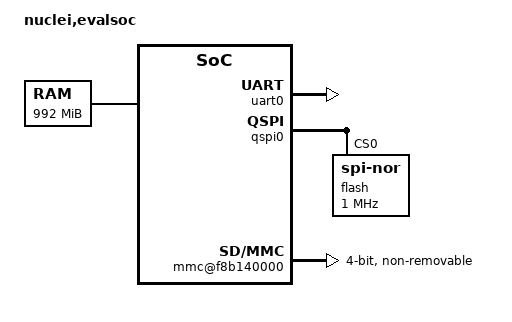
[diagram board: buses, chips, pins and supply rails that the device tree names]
/dts-v1/;

#include <dt-bindings/reset/nuclei-reset.h>

#ifndef TIMERCLK_FREQ
#define TIMERCLK_FREQ       20000000
#endif

#ifndef CPUCLK_FREQ
#define CPUCLK_FREQ         400000000
#endif
#ifndef PERIPHCLK_FREQ
#define PERIPHCLK_FREQ      200000000
#endif

/ {
  #address-cells = <2>;
  #size-cells = <2>;
  compatible = "nuclei,evalsoc";
  model = "nuclei,evalsoc";
  dma-noncoherent;
  chosen {
      bootargs = "earlycon=sbi console=ttyNUC0";
      stdout-path = "serial0";
  };

  aliases {
    serial0 = &uart0;
  };

  cpus {
    #address-cells = <1>;
    #size-cells = <0>;
    timebase-frequency = <TIMERCLK_FREQ>;
    cpu0: cpu@0 {
      device_type = "cpu";
      reg = <0>;
      status = "okay";
      compatible = "riscv";

      riscv,isa = "rv64imafdcv_zicbom_svpbmt";
      riscv,cbom-block-size =<64>;
      mmu-type = "riscv,sv39";
      clock-frequency = <CPUCLK_FREQ>;
      cpu0_intc: interrupt-controller {
        #interrupt-cells = <1>;
        interrupt-controller;
        compatible = "riscv,cpu-intc";
      };
    };
    cpu1: cpu@1 {
      device_type = "cpu";
      reg = <1>;
      status = "okay";
      compatible = "riscv";
      riscv,isa = "rv64imafdcv_zicbom_svpbmt";
      riscv,cbom-block-size =<64>;
      mmu-type = "riscv,sv39";
      clock-frequency = <CPUCLK_FREQ>;
      cpu1_intc: interrupt-controller {
        #interrupt-cells = <1>;
        interrupt-controller;
        compatible = "riscv,cpu-intc";
      };
    };
    cpu2: cpu@2 {
      device_type = "cpu";
      reg = <2>;
      status = "okay";
      compatible = "riscv";
      riscv,isa = "rv64imafdcv_zicbom_svpbmt";
      riscv,cbom-block-size =<64>;
      mmu-type = "riscv,sv39";
      clock-frequency = <CPUCLK_FREQ>;
      cpu2_intc: interrupt-controller {
        #interrupt-cells = <1>;
        interrupt-controller;
        compatible = "riscv,cpu-intc";
      };
    };
    cpu3: cpu@3 {
      device_type = "cpu";
      reg = <3>;
      status = "okay";
      compatible = "riscv";
      riscv,isa = "rv64imafdcv_zicbom_svpbmt";
      riscv,cbom-block-size =<64>;
      mmu-type = "riscv,sv39";
      clock-frequency = <CPUCLK_FREQ>;
      cpu3_intc: interrupt-controller {
        #interrupt-cells = <1>;
        interrupt-controller;
        compatible = "riscv,cpu-intc";
      };
    };
    cpu4: cpu@4 {
      device_type = "cpu";
      reg = <4>;
      status = "okay";
      compatible = "riscv";
      riscv,isa = "rv64imafdcv_zicbom_svpbmt";
      riscv,cbom-block-size =<64>;
      mmu-type = "riscv,sv39";
      clock-frequency = <CPUCLK_FREQ>;
      cpu4_intc: interrupt-controller {
        #interrupt-cells = <1>;
        interrupt-controller;
        compatible = "riscv,cpu-intc";
      };
    };
    cpu5: cpu@5 {
      device_type = "cpu";
      reg = <5>;
      status = "okay";
      compatible = "riscv";
      riscv,isa = "rv64imafdcv_zicbom_svpbmt";
      riscv,cbom-block-size =<64>;
      mmu-type = "riscv,sv39";
      clock-frequency = <CPUCLK_FREQ>;
      cpu5_intc: interrupt-controller {
        #interrupt-cells = <1>;
        interrupt-controller;
        compatible = "riscv,cpu-intc";
      };
    };
    cpu6: cpu@6 {
      device_type = "cpu";
      reg = <6>;
      status = "okay";
      compatible = "riscv";
      riscv,isa = "rv64imafdcv_zicbom_svpbmt";
      riscv,cbom-block-size =<64>;
      mmu-type = "riscv,sv39";
      clock-frequency = <CPUCLK_FREQ>;
      cpu6_intc: interrupt-controller {
        #interrupt-cells = <1>;
        interrupt-controller;
        compatible = "riscv,cpu-intc";
      };
    };
    cpu7: cpu@7 {
      device_type = "cpu";
      reg = <7>;
      status = "okay";
      compatible = "riscv";
      riscv,isa = "rv64imafdcv_zicbom_svpbmt";
      riscv,cbom-block-size =<64>;
      mmu-type = "riscv,sv39";
      clock-frequency = <CPUCLK_FREQ>;
      cpu7_intc: interrupt-controller {
        #interrupt-cells = <1>;
        interrupt-controller;
        compatible = "riscv,cpu-intc";
      };
    };
  };

  memory@0 {
    device_type = "memory";
    reg = <0x0 0x00000000 0x0 0x3E000000>;
  };

  soc {
    #address-cells = <2>;
    #size-cells = <2>;
    compatible = "nuclei,evalsoc", "simple-bus";
    ranges;
  };

  /* Used for Uboot SBI Console */
  console {
    compatible = "sbi,console";
  };

  uart0_clk: uart0_clk {
    #clock-cells = <0>;
    compatible = "fixed-clock";
    clock-frequency = <200000000>;
  };

  spi0_clk: spi0_clk {
    #clock-cells = <0>;
    compatible = "fixed-clock";
    clock-frequency = <200000000>;
  };

  spi2_clk: spi2_clk {
    #clock-cells = <0>;
    compatible = "fixed-clock";
    clock-frequency = <200000000>;
  };

  sdio0_data_clk: sdio0_data_clk {
    #clock-cells = <0>;
    compatible = "fixed-clock";
    clock-frequency = <100000000>;
  };

  rtc0_clk: rtc0_clk {
    #clock-cells = <0>;
    compatible = "fixed-clock";
    clock-frequency = <20000000>;
  };

  rst: rstmgr@f8b300000 {
    #reset-cells = <1>;
    compatible = "nuclei,rst-mgr";
    reg = <0xf 0x8b300000 0x0 0x40>;
  };

  plic0: interrupt-controller@f84000000 {
    #interrupt-cells = <1>;
    compatible = "riscv,plic0";
    interrupt-controller;
    riscv,ndev = <31>;
    interrupts-extended =
          <&cpu0_intc 11 &cpu0_intc 9
           &cpu1_intc 11 &cpu1_intc 9
           &cpu2_intc 11 &cpu2_intc 9
           &cpu3_intc 11 &cpu3_intc 9
           &cpu4_intc 11 &cpu4_intc 9
           &cpu5_intc 11 &cpu5_intc 9
           &cpu6_intc 11 &cpu6_intc 9
           &cpu7_intc 11 &cpu7_intc 9>;
    reg = <0xf 0x84000000 0x0 0x4000000>;
  };

  clint0: clint@f80031000 {
    #interrupt-cells = <1>;
    compatible = "riscv,clint0";
    reg = <0xf 0x80031000 0x0 0xC000>;
    interrupts-extended =
          <&cpu0_intc 3 &cpu0_intc 7
           &cpu1_intc 3 &cpu1_intc 7
           &cpu2_intc 3 &cpu2_intc 7
           &cpu3_intc 3 &cpu3_intc 7
           &cpu4_intc 3 &cpu4_intc 7
           &cpu5_intc 3 &cpu5_intc 7
           &cpu6_intc 3 &cpu6_intc 7
           &cpu7_intc 3 &cpu7_intc 7>;
    clocks = <&rtc0_clk>;
  };

  uart0: serial@f8b110000 {
    compatible = "nuclei,uart0";
    reg = <0xf 0x8b110000 0x0 0x1000>;
    interrupt-parent = <&plic0>;
    interrupts = <3>;
    clocks = <&uart0_clk>;
    clock-frequency = <PERIPHCLK_FREQ>;
    status = "okay";
  };

  qspi0: spi@f8b120000 {
    compatible = "nuclei,spi0";
    reg = <0xf 0x8b120000 0x0 0x1000>;
    interrupt-parent = <&plic0>;
    interrupts = <4>;
    num-cs = <1>;
    #address-cells = <1>;
    #size-cells = <0>;
    clocks = <&spi0_clk>;
    status = "okay";

    flash@0 {
      compatible = "jedec,spi-nor";
      reg = <0>;
      spi-max-frequency = <1000000>;
      m25p,fast-read;
      spi-tx-bus-width = <1>;
      spi-rx-bus-width = <1>;
    };
  };

  qspi2: spi@f8b122000 {
    compatible = "nuclei,spi0";
    reg = <0xf 0x8b122000 0x0 0x1000>;
    interrupt-parent = <&plic0>;
    interrupts = <6>;
    num-cs = <1>;
    #address-cells = <1>;
    #size-cells = <0>;
    clocks = <&spi2_clk>;
    clock-frequency = <PERIPHCLK_FREQ>;
    status = "disabled";

    mmc@0 {
      compatible = "mmc-spi-slot";
      reg = <0>;
      spi-max-frequency = <20000000>;
      voltage-ranges = <3300 3300>;
      disable-wp;
      spi-tx-bus-width = <1>;
      spi-rx-bus-width = <1>;
    };
  };

  mmc@f8b140000 {
    compatible = "nuclei,mmc";
    reg = <0xf 0x8b140000 0x0 0x2000>;
    interrupt-parent = <&plic0>;
    interrupts = <9>;
    clocks = <&sdio0_data_clk>;
    clock-names = "sdio_data_clk";
    resets = <&rst NUCLEI_RESET_CTRL0(SDIO0)>;
    max-frequency = <50000000>;
    bus-width = <4>;
    no-sdio;
    no-mmc;
    non-removable;
    /*broken-cd;*/
    cap-sd-highspeed;
    status = "okay";
  };
};
